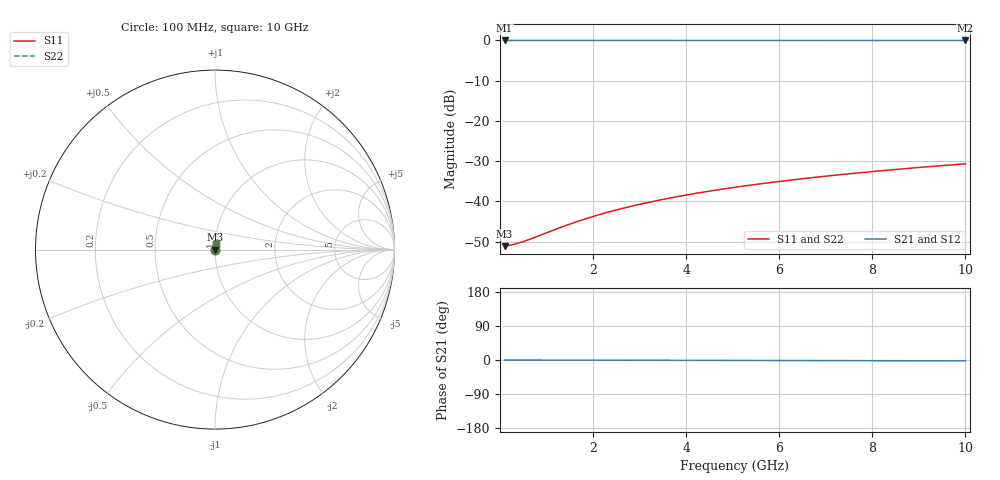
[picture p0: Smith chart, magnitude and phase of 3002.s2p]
# Hz S RI R 50.00
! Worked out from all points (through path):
!   100 points, 100 MHz to 10 GHz, reference 50 ohm
!   highest |S21| = -0.02 dB at 100 MHz (marker M1); lowest = 0.0 dB at 10 GHz (marker M2)
!   lowest |S11| = -51.1 dB at 100 MHz (marker M3), VSWR 1.01, Z = 50.3 + j0.029 ohm
!   |S11| at or under -10 dB: start of sweep to end of sweep
!   |S22| runs from -51.1 to -30.7 dB; largest |S21 - S12| = 0
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1e8  0.00276 0.000289  0.9972 -0.000396  0.9972 -0.000396  0.00276 0.000289
2e8  0.00277 0.000577  0.9972 -0.000791  0.9972 -0.000791  0.00277 0.000577
3e8  0.00279 0.000866  0.9972 -0.00119  0.9972 -0.00119  0.00279 0.000866
5e8  0.00281 0.00144  0.9972 -0.00198  0.9972 -0.00198  0.00281 0.00144
7e8  0.00283 0.00202  0.9972 -0.00277  0.9972 -0.00277  0.00283 0.00202
1.2e9  0.00287 0.00346  0.9971 -0.00475  0.9971 -0.00475  0.00287 0.00346
1.4e9  0.00288 0.00404  0.9971 -0.00554  0.9971 -0.00554  0.00288 0.00404
1.8e9  0.00291 0.00519  0.9971 -0.00712  0.9971 -0.00712  0.00291 0.00519
2.2e9  0.00294 0.00635  0.9971 -0.00871  0.9971 -0.00871  0.00294 0.00635
2.6e9  0.00298 0.0075  0.997 -0.0103  0.997 -0.0103  0.00298 0.0075
3e9  0.00301 0.00866  0.997 -0.0119  0.997 -0.0119  0.00301 0.00866
3.4e9  0.00305 0.00981  0.9969 -0.0135  0.9969 -0.0135  0.00305 0.00981
3.8e9  0.00309 0.011  0.9969 -0.015  0.9969 -0.015  0.00309 0.011
4.2e9  0.00314 0.0121  0.9968 -0.0166  0.9968 -0.0166  0.00314 0.0121
4.6e9  0.00319 0.0133  0.9968 -0.0182  0.9968 -0.0182  0.00319 0.0133
5.1e9  0.00325 0.0147  0.9967 -0.0202  0.9967 -0.0202  0.00325 0.0147
5.9e9  0.00337 0.017  0.9966 -0.0234  0.9966 -0.0234  0.00337 0.017
6.7e9  0.0035 0.0194  0.9965 -0.0265  0.9965 -0.0265  0.0035 0.0194
7.5e9  0.00365 0.0217  0.9963 -0.0297  0.9963 -0.0297  0.00365 0.0217
8.4e9  0.00383 0.0243  0.9961 -0.0333  0.9961 -0.0333  0.00383 0.0243
9.2e9  0.004 0.0266  0.9959 -0.0365  0.9959 -0.0365  0.004 0.0266
1e10  0.00419 0.0289  0.9957 -0.0397  0.9957 -0.0397  0.00419 0.0289
